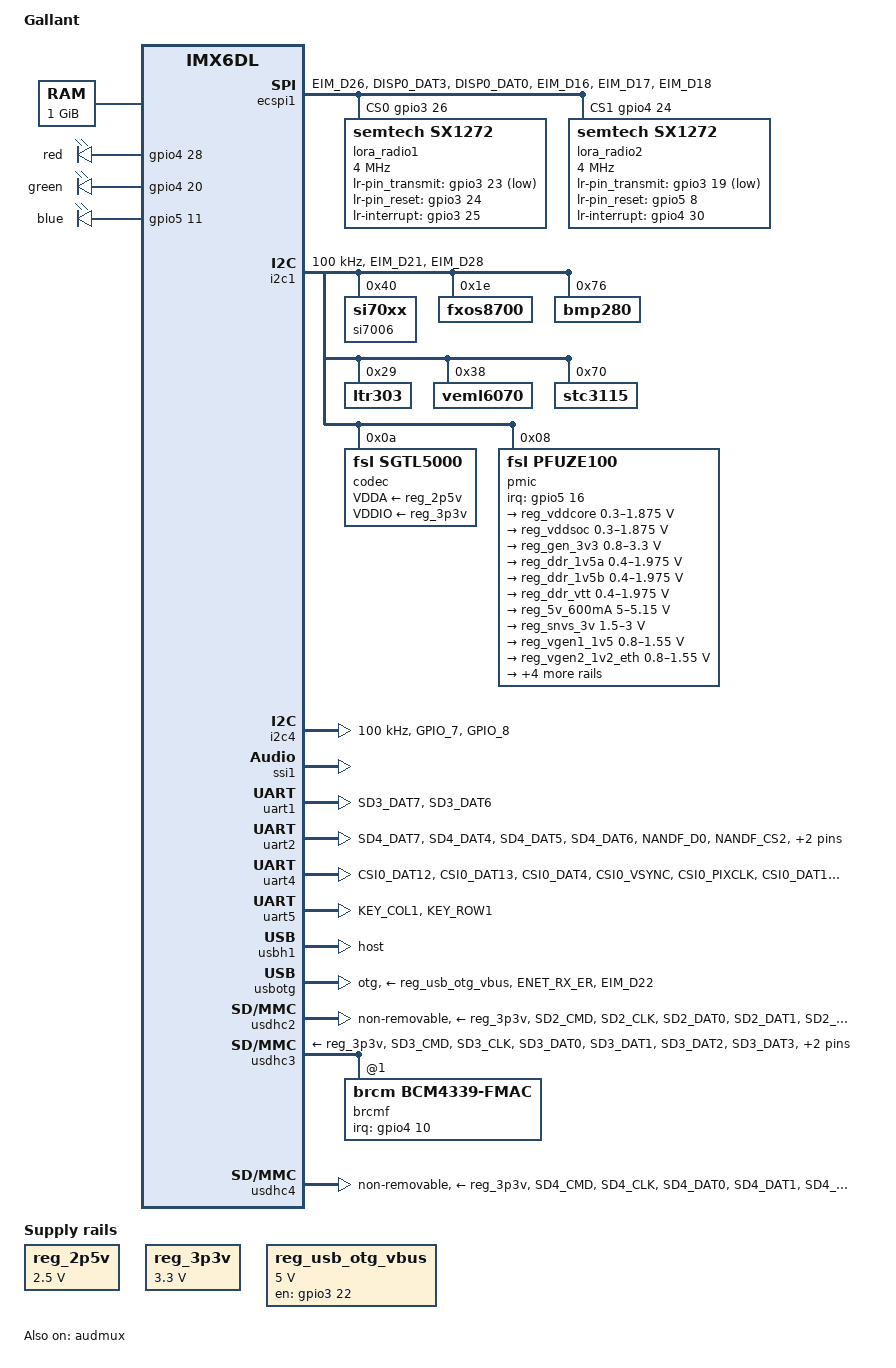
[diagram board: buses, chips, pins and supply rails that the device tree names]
/*
 * Copyright 2014 Iain Paton <ipaton0@gmail.com>
 *
 * This program is free software; you can redistribute it and/or modify
 * it under the terms of the GNU General Public License version 2 as
 * published by the Free Software Foundation.
 *
 */

/dts-v1/;
#include "imx6dl.dtsi"
#include <dt-bindings/gpio/gpio.h>

/ {
	model = "Gallant";
	compatible = "solvz,gallant", "fsl,imx6dl";

	memory {
		reg = <0x10000000 0x40000000>;
	};

	wlcore {
		compatible = "ti,wlcore";
		gpio = <102>;   /* The wl8 driver expects gpio to be an integer, */
		                /* so gpio4_6 is (4-1)*32+6=102 irq property must */
		                /* not be set as driver derives irq number from */
		                /* gpio if no irq set */
		
		/* use edge irqs for suspend/resume */
		platform-quirks = <1>;
		
		/* if a 12xx card is there, configure the clock to
		WL12XX_REFCLOCK_38_XTAL */
		board-ref-clock = <4>;
	};
	
	/*
	wlan_en_reg: fixedregulator@2 {
		compatible = "regulator-fixed";
		regulator-name = "wlan-en-regulator";
		regulator-min-microvolt = <1800000>;
		regulator-max-microvolt = <1800000>;
		
		gpio = <&gpio4 7 0>;
		
		startup-delay-us = <70000>;
		enable-active-high;
	};
	*/
	
	kim {
	    compatible = "kim";
	    nshutdown_gpio = <2>;  /* GPIO_2 */
	    dev_name = "/dev/ttymxc4";
	    flow_cntrl = <1>;
	    baud_rate = <3000000>;
	};
	
	btwilink {
        compatible = "btwilink";
	};



	regulators {
		compatible = "simple-bus";
		#address-cells = <1>;
		#size-cells = <0>;

		reg_2p5v: regulator@0 {
			compatible = "regulator-fixed";
			reg = <0>;
			regulator-name = "2P5V";
			regulator-min-microvolt = <2500000>;
			regulator-max-microvolt = <2500000>;
		};

		reg_3p3v: regulator@1 {
			compatible = "regulator-fixed";
			reg = <1>;
			regulator-name = "3P3V";
			regulator-min-microvolt = <3300000>;
			regulator-max-microvolt = <3300000>;
		};

		reg_usb_otg_vbus: regulator@2 {
			compatible = "regulator-fixed";
			reg = <2>;
			regulator-name = "usb_otg_vbus";
			regulator-min-microvolt = <5000000>;
			regulator-max-microvolt = <5000000>;
			gpio = <&gpio3 22 0>;
			enable-active-high;
		};
	};


	sound {
		compatible = "fsl,imx-audio-sgtl5000";
		model = "imx6-riotboard-sgtl5000";
		ssi-controller = <&ssi1>;
		audio-codec = <&codec>;
		audio-routing =
			"MIC_IN", "Mic Jack",
			"Mic Jack", "Mic Bias",
			"Headphone Jack", "HP_OUT";
			mux-int-port = <1>;
			mux-ext-port = <4>;
	};

	modem {
		/* BC: This was written in anticipation that someday a driver will want something like this.  The syntax might need to change.  */
		pinctrl-names = "default";
		pinctrl-0 = <&pinctrl_modem>;
		status = "okay";
		uart = <&uart2>;
	};
    
    leds {
        compatible = "gpio-leds";
        pinctrl-names = "default";
        pinctrl-0 = <&pinctrl_leds>;
        red {
            gpios = <&gpio4 28 0>;
            default-state = "off";
        };
        green {
            gpios = <&gpio4 20 0>;
            linux,default-trigger = "timer";
            default-state = "on";
        };
        blue {
            gpios = <&gpio5 11 0>;
            default-state = "off";
        };
    };
    
    buttons {
        /* No compatible string.  These to be controlled as gpio */
        pinctrl-names = "default";
        pinctrl-0 = <&pinctrl_buttons>;
    };
    
    mcu_pins {  /* output pins to control off-board MCU */
        /* No compatible string.  These to be controlled as gpio */
        pinctrl-names = "default";
        pinctrl-0 = <&pinctrl_mcu_pins>;        /* Todo: verify that this is enough to set up the pins */
    };
};

&audmux {
	pinctrl-names = "default";
	pinctrl-0 = <&pinctrl_audmux>;
	status = "okay";
};

&epit1 {
       status = "disabled";    /* to be used by lora_raw so don't use it for anything else */
};

&ecspi1 {
	pinctrl-names = "default";		
	pinctrl-0 = <&pinctrl_ecspi1>;
    fsl,spi-num-chipselects = <2>;
	cs-gpios = <&gpio3 26 0>,        /* radio chip select is active-low. */
		   <&gpio4 24 0>;
	status = "okay";

	lora_radio1@0 {
		compatible = "semtech,sx1272";
		spi-max-frequency = <4000000>;
		reg = <0>;				/* Use the first listed chip select. */
		status = "okay";
		lr-pinctrl-0 = <&pinctrl_lora_radio1>;	/* lora driver should set up these pins with these settings */
		lr-pin_transmit = <&gpio3 23 GPIO_ACTIVE_LOW>;	/* low to transmit */
		lr-pin_reset = <&gpio3 24 GPIO_ACTIVE_HIGH>;	/* drive high to reset, otherwise leave floating */
		lr-interrupt = <&gpio3 25 IRQ_TYPE_EDGE_RISING>;
		lr-timer = <&epit1>;			/* the driver for this radio uses an on-chip EPIT timer */
	};

	lora_radio2@1 {
		compatible = "semtech,sx1272";
		spi-max-frequency = <4000000>;
		reg = <1>;				/* Use which of the listed chip selects */
		status = "okay";
		lr-pinctrl-0 = <&pinctrl_lora_radio2>;	/* lora driver should set up these pins with these settings */
		lr-pin_transmit = <&gpio3 19 GPIO_ACTIVE_LOW>;	/* low to transmit */
		lr-pin_reset = <&gpio5  8 GPIO_ACTIVE_HIGH>;	/* drive high to reset, otherwise leave floating */
		lr-interrupt = <&gpio4 30 IRQ_TYPE_EDGE_RISING>;
		lr-timer = <&epit1>;			/* the driver for this radio uses an on-chip EPIT timer */
	};
};

&i2c1 {
	clock-frequency = <100000>;
	pinctrl-names = "default";
	pinctrl-0 = <&pinctrl_i2c1>;
	status = "okay";

	si7006@40 {
		compatible = "si70xx";
		reg = <0x40>;
	};

	fxos8700@1e {
		compatible = "fxos8700";
		reg = <0x1e>;
	};

	bmp280@76 {
		compatible = "bmp280";
		reg = <0x76>;
	};

       ltr303@29 {
               compatible = "ltr303";
               reg = <0x29>;
       };

       veml6070@38 {
               compatible = "veml6070";
               reg = <0x38>;
       };

       stc3115@70 {
                compatible = "stc3115";
                reg = <0x70>;
        };

	codec: sgtl5000@0a {
		compatible = "fsl,sgtl5000";
		reg = <0x0a>;
		clocks = <&clks 201>;
		VDDA-supply = <&reg_2p5v>;
		VDDIO-supply = <&reg_3p3v>;
	};

	pmic: pf0100@08 {
		compatible = "fsl,pfuze100";
		reg = <0x08>;
		interrupt-parent = <&gpio5>;
		interrupts = <16 8>;

		regulators {
			reg_vddcore: sw1ab {				/* VDDARM_IN */
				regulator-min-microvolt = <300000>;
				regulator-max-microvolt = <1875000>;
				regulator-always-on;
			};

			reg_vddsoc: sw1c {				/* VDDSOC_IN */
				regulator-min-microvolt = <300000>;
				regulator-max-microvolt = <1875000>;
				regulator-always-on;
			};

			reg_gen_3v3: sw2 {				/* VDDHIGH_IN */
				regulator-min-microvolt = <800000>;
				regulator-max-microvolt = <3300000>;
				regulator-always-on;
			};

			reg_ddr_1v5a: sw3a {				/* NVCC_DRAM, NVCC_RGMII */
				regulator-min-microvolt = <400000>;
				regulator-max-microvolt = <1975000>;
				regulator-always-on;
			};

			reg_ddr_1v5b: sw3b {				/* NVCC_DRAM, NVCC_RGMII */
				regulator-min-microvolt = <400000>;
				regulator-max-microvolt = <1975000>;
				regulator-always-on;
			};

			reg_ddr_vtt: sw4 {				/* MIPI conn */
				regulator-min-microvolt = <400000>;
				regulator-max-microvolt = <1975000>;
				regulator-always-on;
			};

			reg_5v_600mA: swbst {				/* not used */
				regulator-min-microvolt = <5000000>;
				regulator-max-microvolt = <5150000>;
			};

			reg_snvs_3v: vsnvs {				/* VDD_SNVS_IN */
				regulator-min-microvolt = <1500000>;
				regulator-max-microvolt = <3000000>;
				regulator-always-on;
			};

			vref_reg: vrefddr {				/* VREF_DDR */
				regulator-boot-on;
				regulator-always-on;
			};

			reg_vgen1_1v5: vgen1 {				/* not used */
				regulator-min-microvolt = <800000>;
				regulator-max-microvolt = <1550000>;
			};

			reg_vgen2_1v2_eth: vgen2 {			/* pcie ? */
				regulator-min-microvolt = <800000>;
				regulator-max-microvolt = <1550000>;
				regulator-always-on;
			};

			reg_vgen3_2v8: vgen3 {				/* not used */
				regulator-min-microvolt = <1800000>;
				regulator-max-microvolt = <3300000>;
			};
			reg_vgen4_1v8: vgen4 {				/* NVCC_SD3 */
				regulator-min-microvolt = <1800000>;
				regulator-max-microvolt = <3300000>;
				regulator-always-on;
			};

			reg_vgen5_2v5_sgtl: vgen5 {			/* Pwr LED & 5V0_delayed enable */
				regulator-min-microvolt = <1800000>;
				regulator-max-microvolt = <3300000>;
				regulator-always-on;
			};

			reg_vgen6_3v3: vgen6 {				/* #V#_DELAYED enable, MIPI */
				regulator-min-microvolt = <1800000>;
				regulator-max-microvolt = <3300000>;
				regulator-always-on;
			};
		};
	};
};


&i2c4 {
	clock-frequency = <100000>;
	pinctrl-names = "default";
	pinctrl-0 = <&pinctrl_i2c4>;
	clocks = <&clks 116>;
	status = "okay";
};

/*&pwm3 {
	pinctrl-names = "default";
	pinctrl-0 = <&pinctrl_pwm3>;
	status = "okay";
};

&pwm4 {
	pinctrl-names = "default";
	pinctrl-0 = <&pinctrl_pwm4>;
	status = "okay";
};*/


&ssi1 {
	status = "okay";
};

&uart1 {
	pinctrl-names = "default";
	pinctrl-0 = <&pinctrl_uart1>;
	status = "okay";
};


&uart2 {
	pinctrl-names = "default";
	pinctrl-0 = <&pinctrl_uart2>;
	status = "okay";
	fsl,uart-has-rtscts;
};
/*
&uart3 {
	pinctrl-names = "default";
	pinctrl-0 = <&pinctrl_uart3>;
	status = "okay";
};
*/

&uart4 {
	pinctrl-names = "default";
	pinctrl-0 = <&pinctrl_uart4 &pinctrl_gps>;
	status = "okay";
};

&uart5 {
	pinctrl-names = "default";
	pinctrl-0 = <&pinctrl_uart5>;
	status = "okay";
	fsl,uart-has-rtscts;
};

&usbh1 {
	dr_mode = "host";
	disable-over-current;
	status = "okay";
};

&usbotg {
	vbus-supply = <&reg_usb_otg_vbus>;
	pinctrl-names = "default";
	pinctrl-0 = <&pinctrl_usbotg>;
	disable-over-current;
	dr_mode = "otg";
	status = "okay";
};

&usdhc2 {
	pinctrl-names = "default";
	pinctrl-0 = <&pinctrl_usdhc2>;
	cd-gpios = <&gpio1 4 0>;
	wp-gpios = <&gpio1 2 0>;
	vmmc-supply = <&reg_3p3v>;
	status = "okay";
	non-removable;
};

&usdhc3 {
	pinctrl-names = "default";
	pinctrl-0 = <&pinctrl_usdhc3>;
	cd-gpios = <&gpio7 0 0>;
	vmmc-supply = <&reg_3p3v>;
	status = "okay";
	disable-wp;

	brcmf: bcrmf@1 {
		reg = <1>;
		compatible = "brcm,bcm4339-fmac";
		interrupt-parent = <&gpio4>;
		interrupts = <10 8>;		/* 10 means pin 10 on interrupt-parent.  ? 8 means active-low, level sensitive ? */
		interrupt-names = "host-wake";
		pinctrl-names = "default";
		pinctrl-0 = <&pinctrl_brcmf>;
	};
};

&usdhc4 {
	pinctrl-names = "default";
	pinctrl-0 = <&pinctrl_usdhc4>;
	vmmc-supply = <&reg_3p3v>;
	non-removable;
	status = "okay";
};

&iomuxc {
	pinctrl-names = "default";

	imx6-riotboard {
		pinctrl_audmux: audmuxgrp {
			fsl,pins = <
				MX6QDL_PAD_DISP0_DAT19__AUD4_RXC	0x130b0 
				MX6QDL_PAD_DISP0_DAT20__AUD4_TXC	0x130b0 
				MX6QDL_PAD_DISP0_DAT21__AUD4_TXD	0x110b0 
				MX6QDL_PAD_DISP0_DAT22__AUD4_TXFS	0x130b0 
				MX6QDL_PAD_DISP0_DAT23__AUD4_RXD	0x130b0 
				MX6QDL_PAD_GPIO_19__CCM_CLKO1		0x130b0
			>;
		};
		
		pinctrl_brcmf: brcmfgrp {
			fsl,pins = <
				/* todo: not sure if these are active high or low and so  should have pull-up/downs enabled: */
				MX6QDL_PAD_KEY_COL0__GPIO4_IO06		0x1b0b1		/* EN  */
				MX6QDL_PAD_KEY_ROW2__GPIO4_IO11		0x1b0b1		/* IRQ */
				MX6QDL_PAD_KEY_COL3__GPIO4_IO12		0x1b0b1		/* WAKE */
			>;
		};

		pinctrl_buttons: buttonsgrp {
			fsl,pins = <
				MX6QDL_PAD_DISP0_DAT5__GPIO4_IO26	0x1f0b1		/* PROVISIONING pushbutton input (active-low). */
			>;
		};

		pinctrl_ecspi1: ecspi1grp {
			fsl,pins = <
				MX6QDL_PAD_EIM_D26__GPIO3_IO26		0x100b1		/* CS0 */
				MX6QDL_PAD_DISP0_DAT3__GPIO4_IO24	0x100b1		/* CS1 */
				MX6QDL_PAD_DISP0_DAT0__GPIO4_IO21	0x100b1		/* CS2 */
				MX6QDL_PAD_EIM_D16__ECSPI1_SCLK		0x100b1
				MX6QDL_PAD_EIM_D17__ECSPI1_MISO		0x100b1
				MX6QDL_PAD_EIM_D18__ECSPI1_MOSI		0x100b1
			>;
		};

		pinctrl_ecspi3: ecspi3grp {
			fsl,pins = <
				MX6QDL_PAD_DISP0_DAT0__ECSPI3_SCLK	0x100b1
				MX6QDL_PAD_DISP0_DAT1__ECSPI3_MOSI	0x100b1
				MX6QDL_PAD_DISP0_DAT2__ECSPI3_MISO	0x100b1
			>;
		};

		pinctrl_gps: gpsgrp {
        		fsl,pins = <
                		MX6QDL_PAD_CSI0_DAT4__GPIO5_IO22        0x1b0b1         /* GPS_ONOFF */
                		MX6QDL_PAD_CSI0_VSYNC__GPIO5_IO21       0x1b0b1         /* GPS_RESET */
                		MX6QDL_PAD_CSI0_PIXCLK__GPIO5_IO18      0x1b0b1         /* GPS_WAKEUP */
                		MX6QDL_PAD_CSI0_DAT16__GPIO6_IO02       0x1f0b1         /* GPS_GPIO6 - HOST_CLK - pull-up on power-up to select UART */ 
                		MX6QDL_PAD_CSI0_DAT17__GPIO6_IO03       0x100b1         /* GPS_GPIO7 - HOST_CS  - leave high-impedance on power-up to select UART */
        		>;
		};
		pinctrl_i2c1: i2c1grp {
			fsl,pins = <
				MX6QDL_PAD_EIM_D21__I2C1_SCL		0x4001b8b1
				MX6QDL_PAD_EIM_D28__I2C1_SDA		0x4001b8b1
			>;
		};

		/*pinctrl_i2c2: i2c2grp {
			fsl,pins = <
				/*MX6QDL_PAD_KEY_COL3__I2C2_SCL		0x4001b8b1*/
				/*MX6QDL_PAD_KEY_ROW3__I2C2_SDA		0x4001b8b1
			>;
		};*/

		pinctrl_i2c3: i2c3grp {
			fsl,pins = <
				MX6QDL_PAD_GPIO_5__I2C3_SCL		0x4001b8b1
				MX6QDL_PAD_GPIO_6__I2C3_SDA		0x4001b8b1
			>;
		};

		pinctrl_i2c4: i2c4grp {
			fsl,pins = <
				MX6QDL_PAD_GPIO_7__I2C4_SCL             0x4001b8b1
				MX6QDL_PAD_GPIO_8__I2C4_SDA             0x4001b8b1
			>;
		};

		pinctrl_leds: led1grp {
			fsl,pins = <
				MX6QDL_PAD_DISP0_DAT7__GPIO4_IO28	0x100b1		/* LED_RED   - Red LED. Active-high.   */
				MX6QDL_PAD_DI0_PIN4__GPIO4_IO20	    0x100b1		/* LED_GREEN - Green LED. Active-high. */
				MX6QDL_PAD_DISP0_DAT17__GPIO5_IO11	0x100b1		/* LED_BLUE  - Blue LED. Active-high.  */

/* HACK - pinctrl_buttons */
				MX6QDL_PAD_DISP0_DAT5__GPIO4_IO26	0x1f0b1		/* PROVISIONING pushbutton input (active-low). */
                
/* HACK - pinctrl_mcu_pins */
                /* these two pins use lower output drive strength in case of conflict with MCU */
				MX6QDL_PAD_CSI0_DAT8__GPIO5_IO26	0x10089		/* MCU_BOOT  - Can be used as a GPIO pin on the K02 bootloader to trigger a reboot */
				MX6QDL_PAD_CSI0_DAT18__GPIO6_IO04	0x10089		/* MCU_RESET - Attached to the RESET pin of the K02 MCU */

/* HACK - pinctrl_modem */
				MX6QDL_PAD_NANDF_D6__GPIO2_IO06		0x130b1		/* POWER_IND. */
				MX6QDL_PAD_SD1_DAT0__GPIO1_IO16		0x100b1		/* CELL_POWER_EN - Output to enable Boost regulator. Drive HIGH to power CDMA module. */
				/* Q3 and Q4 are to be bypassed and these lines to feed directly to the modem : */
				MX6QDL_PAD_NANDF_D7__GPIO2_IO07		0x108b1		/* POWER (IGT) - open drain */
				MX6QDL_PAD_NANDF_D4__GPIO2_IO04		0x108b1		/* EMERG_OFF   - open drain */

            >;
		};
        
                pinctrl_lora_radio1: lora_radio1grp {           /* pins in addition to the SPI pins */
                        fsl,pins = <    /* Pad Name  Mux setting        Pad Control Register Value */
                                MX6QDL_PAD_EIM_D23__GPIO3_IO23          0x100b1         /* CTX (antenna switch) */
                                MX6QDL_PAD_EIM_D24__GPIO3_IO24          0x100b1         /* RESET */
                                MX6QDL_PAD_EIM_D25__GPIO3_IO25          0x130b1         /* INT (DI0) */
                        >;
                };

                pinctrl_lora_radio2: lora_radio2grp {           /* pins in addition to the SPI pins */
                        fsl,pins = <    /* Pad Name  Mux setting        Pad Control Register Value */
                                MX6QDL_PAD_EIM_D19__GPIO3_IO19          0x100b1         /* CTX (antenna switch) */
                                MX6QDL_PAD_DISP0_DAT14__GPIO5_IO08      0x100b1         /* RESET */
                                MX6QDL_PAD_DISP0_DAT9__GPIO4_IO30       0x130b1         /* INT (DI0) */
                        >;
                };

		pinctrl_mcu_pins: mcupinsgrp {
			fsl,pins = <
                /* these two pins use lower output drive strength in case of conflict with MCU */
				MX6QDL_PAD_CSI0_DAT8__GPIO5_IO26	0x10089		/* MCU_BOOT  - Can be used as a GPIO pin on the K02 bootloader to trigger a reboot */
				MX6QDL_PAD_CSI0_DAT18__GPIO6_IO04	0x10089		/* MCU_RESET - Attached to the RESET pin of the K02 MCU */
			>;
		};

		pinctrl_modem: modemgrp {
	  		fsl,pins = <
				MX6QDL_PAD_NANDF_D6__GPIO2_IO06		0x130b1		/* POWER_IND. */
				MX6QDL_PAD_SD1_DAT0__GPIO1_IO16		0x100b1		/* CELL_POWER_EN - Output to enable Boost regulator. Drive HIGH to power CDMA module. */
				/* Q3 and Q4 are to be bypassed and these lines to feed directly to the modem : */
				MX6QDL_PAD_NANDF_D7__GPIO2_IO07		0x108b1		/* POWER (IGT) - open drain */
				MX6QDL_PAD_NANDF_D4__GPIO2_IO04		0x108b1		/* EMERG_OFF   - open drain */
			>;
		};

		pinctrl_pwm3: pwm3grp {
			fsl,pins = <
				MX6QDL_PAD_SD1_DAT1__PWM3_OUT		0x1b0b1
			>;
		};

		pinctrl_pwm4: pwm4grp {
			fsl,pins = <
				MX6QDL_PAD_SD1_CMD__PWM4_OUT		0x1b0b1
			>;
		};

		pinctrl_uart1: uart1grp {
			fsl,pins = <
				MX6QDL_PAD_SD3_DAT7__UART1_TX_DATA	0x1b0b1
				MX6QDL_PAD_SD3_DAT6__UART1_RX_DATA	0x1b0b1
			>;
		};

		
		pinctrl_uart2: uart2grp {
			fsl,pins = <
				MX6QDL_PAD_SD4_DAT7__UART2_TX_DATA	0x1b0b1
				MX6QDL_PAD_SD4_DAT4__UART2_RX_DATA	0x1b0b1
				MX6QDL_PAD_SD4_DAT5__GPIO2_IO13		0x1b0b1 /* Schematic CTS mux to UART RTS */
				MX6QDL_PAD_SD4_DAT6__UART2_CTS_B	0x1b0b1 /* Schematic RTS mux to UART CTS */
				MX6QDL_PAD_NANDF_D0__GPIO2_IO00		0x1b0b1		/* DTR */
				MX6QDL_PAD_NANDF_CS2__GPIO6_IO15	0x1b0b1		/* DSR */
				MX6QDL_PAD_NANDF_ALE__GPIO6_IO08	0x1b0b1		/* DCD */
				MX6QDL_PAD_NANDF_D5__GPIO2_IO05		0x1b0b1		/* RING / INT */
			>;
		};
		

		/*
		pinctrl_uart3: uart3grp {
			fsl,pins = <
				MX6QDL_PAD_EIM_D24__UART3_TX_DATA	0x1b0b1
				MX6QDL_PAD_EIM_D25__UART3_RX_DATA	0x1b0b1
			>;
		};
		*/

		pinctrl_uart4: uart4grp {
			fsl,pins = <
                                MX6QDL_PAD_CSI0_DAT12__UART4_TX_DATA    0x1b0b1
                                MX6QDL_PAD_CSI0_DAT13__UART4_RX_DATA    0x1b0b1
			/*	MX6QDL_PAD_CSI0_DAT12__UART4_TX_DATA	0x1b0b1
				MX6QDL_PAD_CSI0_DAT13__UART4_RX_DATA	0x1b0b1
				MX6QDL_PAD_CSI0_DAT16__UART4_RTS_B	0x1b0b1
				MX6QDL_PAD_CSI0_DAT17__UART4_CTS_B	0x1b0b1*/
			>;
		};

		pinctrl_uart5: uart5grp {
			fsl,pins = <
				MX6QDL_PAD_KEY_COL1__UART5_TX_DATA	0x1b0b1
				MX6QDL_PAD_KEY_ROW1__UART5_RX_DATA	0x1b0b1
			>;
		};

		pinctrl_usbotg: usbotggrp {
			fsl,pins = <
				MX6QDL_PAD_ENET_RX_ER__USB_OTG_ID	0x17059
				MX6QDL_PAD_EIM_D22__GPIO3_IO22		0x000b0	/* MX6QDL_PAD_EIM_D22__USB_OTG_PWR */
				/*MX6QDL_PAD_EIM_D21__USB_OTG_OC		0x1b0b0*/
			>;
		};

		pinctrl_usdhc2: usdhc2grp {
			fsl,pins = <
				MX6QDL_PAD_SD2_CMD__SD2_CMD		0x17059
				MX6QDL_PAD_SD2_CLK__SD2_CLK		0x10059
				MX6QDL_PAD_SD2_DAT0__SD2_DATA0		0x17059
				MX6QDL_PAD_SD2_DAT1__SD2_DATA1		0x17059
				MX6QDL_PAD_SD2_DAT2__SD2_DATA2		0x17059
				MX6QDL_PAD_SD2_DAT3__SD2_DATA3		0x17059
				MX6QDL_PAD_GPIO_4__GPIO1_IO04		0x1b0b0	/* SD2 CD */
				MX6QDL_PAD_GPIO_2__GPIO1_IO02		0x1f0b0	/* SD2 WP */
			>;
		};

		pinctrl_usdhc3: usdhc3grp {
			fsl,pins = <
				MX6QDL_PAD_SD3_CMD__SD3_CMD		0x17059
				MX6QDL_PAD_SD3_CLK__SD3_CLK		0x10059
				MX6QDL_PAD_SD3_DAT0__SD3_DATA0		0x17059
				MX6QDL_PAD_SD3_DAT1__SD3_DATA1		0x17059
				MX6QDL_PAD_SD3_DAT2__SD3_DATA2		0x17059
				MX6QDL_PAD_SD3_DAT3__SD3_DATA3		0x17059
				MX6QDL_PAD_SD3_DAT5__GPIO7_IO00		0x1b0b0	/* SD3 CD */
			/*	MX6QDL_PAD_SD3_DAT4__GPIO7_IO01		0x1f0b0	/* SD3 WP */
			>;
		};

		pinctrl_usdhc4: usdhc4grp {
			fsl,pins = <
				MX6QDL_PAD_SD4_CMD__SD4_CMD		0x17059
				MX6QDL_PAD_SD4_CLK__SD4_CLK		0x10059
				MX6QDL_PAD_SD4_DAT0__SD4_DATA0		0x17059
				MX6QDL_PAD_SD4_DAT1__SD4_DATA1		0x17059
				MX6QDL_PAD_SD4_DAT2__SD4_DATA2		0x17059
				MX6QDL_PAD_SD4_DAT3__SD4_DATA3		0x17059
				/*MX6QDL_PAD_NANDF_ALE__GPIO6_IO08	0x17059	 TODO: Relocate to different pin? */ /* SD4 RST (eMMC) */
			>;
		};

                pinctrl_wifi: wifigrp {
                        fsl,pins = <
                                MX6QDL_PAD_KEY_ROW0__GPIO4_IO07         0x1f0b1         /* WiFi EN */
                                MX6QDL_PAD_KEY_COL2__GPIO4_IO10         0x170b0         /* IRQ (HOST_WAKE) */
                        >;
                };

	};
};
